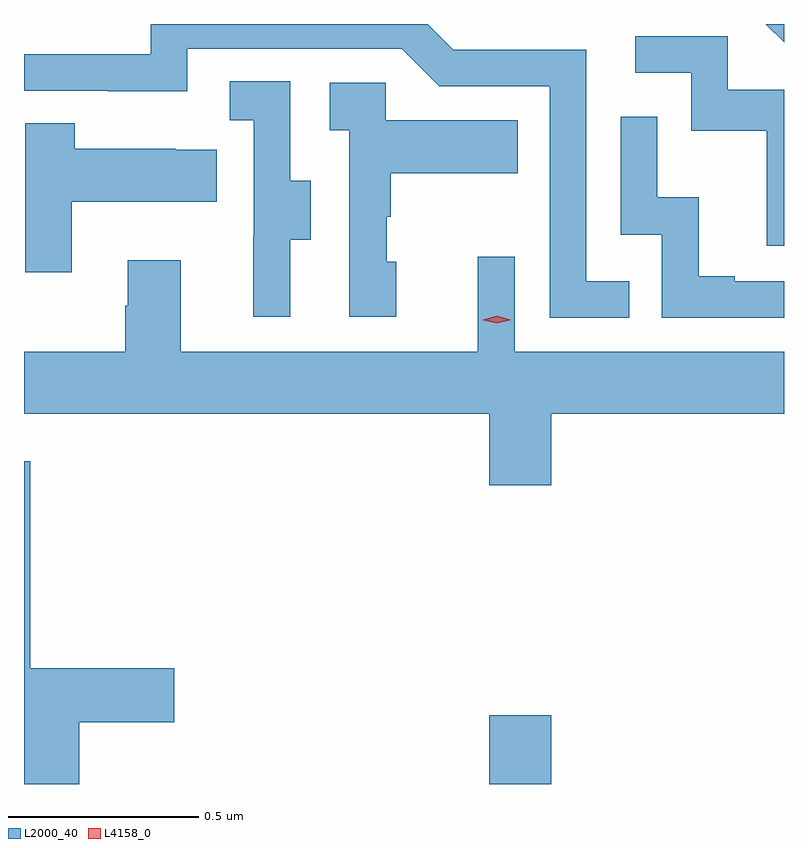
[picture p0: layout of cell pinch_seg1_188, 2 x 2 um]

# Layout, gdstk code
import gdstk
lib = gdstk.Library(unit=1e-6, precision=1e-09)
def R(c, l, rs):  # rectangles x0, y0, x1, y1
    for r in rs: c.add(gdstk.rectangle(r[:2], r[2:], *l))
def P(c, l, *ps):  # polygons
    for p in ps: c.add(gdstk.Polygon(p, *l))
L2000_40 = (2000, 40)
L4158_0 = (4158, 0)

pinch_seg1_188 = lib.new_cell('pinch_seg1_188')
R(pinch_seg1_188, L2000_40, [(1100.072,560.082,1100.236,560.263)])
P(pinch_seg1_188, L2000_40, [(1100.441,561.405),(1100.328,561.405),(1100.328,562.014),(1099.978,562.014),(1099.91,562.082),(1099.182,562.082),(1099.182,562.002),(1098.848,562.002),(1098.848,561.906),(1099.069,561.906),(1099.069,561.905),(1099.278,561.905),(1099.278,562.017),(1099.842,562.017),(1099.941,561.918),(1100.232,561.918),(1100.232,561.309),(1100.441,561.309)],
  [(1100.848,562.082),(1100.8,562.082),(1100.848,562.034)],
  [(1100.848,561.909),(1100.7,561.909),(1100.7,562.05),(1100.457,562.05),(1100.457,561.954),(1100.604,561.954),(1100.604,561.801),(1100.803,561.801),(1100.803,561.498),(1100.848,561.498)],
  [(1099.549,561.514),(1099.603,561.514),(1099.603,561.669),(1099.548,561.669),(1099.548,561.932),(1099.389,561.932),(1099.389,561.829),(1099.452,561.829),(1099.452,561.525),(1099.451,561.525),(1099.451,561.312),(1099.549,561.312)],
  [(1099.828,561.456),(1099.803,561.456),(1099.803,561.575),(1099.813,561.575),(1099.813,561.689),(1100.147,561.689),(1100.147,561.829),(1099.8,561.829),(1099.8,561.927),(1099.653,561.927),(1099.653,561.803),(1099.704,561.803),(1099.704,561.312),(1099.828,561.312)],
  [(1100.848,561.405),(1100.719,561.405),(1100.719,561.418),(1100.624,561.418),(1100.624,561.626),(1100.514,561.626),(1100.514,561.838),(1100.418,561.838),(1100.418,561.528),(1100.526,561.528),(1100.526,561.309),(1100.848,561.309)],
  [(1098.973,561.614),(1099.355,561.614),(1099.355,561.751),(1099.247,561.751),(1099.247,561.754),(1098.981,561.754),(1098.981,561.821),(1098.851,561.821),(1098.851,561.429),(1098.973,561.429)],
  [(1100.236,561.056),(1100.848,561.056),(1100.848,561.22),(1100.139,561.22),(1100.139,561.469),(1100.042,561.469),(1100.042,561.22),(1099.261,561.22),(1099.261,561.46),(1099.121,561.46),(1099.121,561.341),(1099.114,561.341),(1099.114,561.22),(1098.848,561.22),(1098.848,561.056),(1100.072,561.056),(1100.072,560.868),(1100.236,560.868)],
  [(1098.994,560.245),(1099.243,560.245),(1099.243,560.387),(1098.865,560.387),(1098.865,560.932),(1098.848,560.932),(1098.848,560.082),(1098.994,560.082)])
P(pinch_seg1_188, L4158_0, [(1100.092,561.294),(1100.057,561.303),(1100.057,561.304),(1100.057,561.304),(1100.092,561.314),(1100.127,561.304),(1100.127,561.304),(1100.127,561.303)])

lib.write_gds('pinch_seg1_188.gds')
